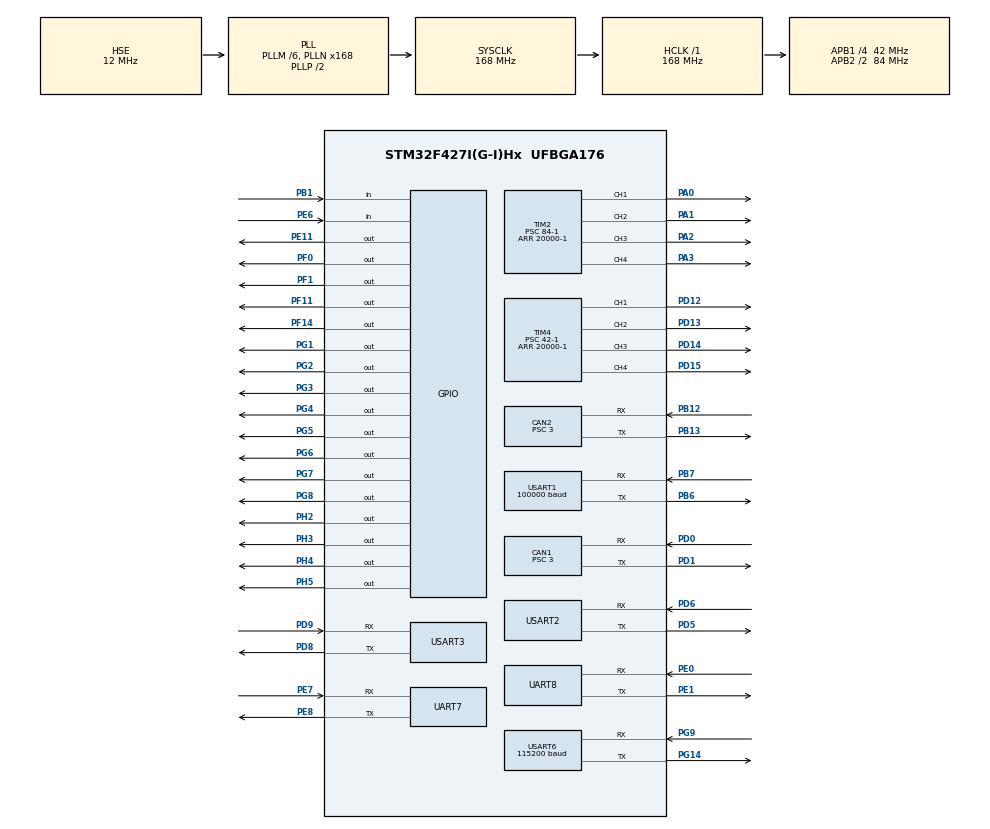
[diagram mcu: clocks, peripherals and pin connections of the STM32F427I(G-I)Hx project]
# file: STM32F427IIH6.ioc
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CAN1.BS1=CAN_BS1_10TQ
CAN1.BS2=CAN_BS2_3TQ
CAN1.CalculateBaudRate=1000000
CAN1.CalculateTimeBit=1000
CAN1.CalculateTimeQuantum=71.42857142857143
CAN1.Prescaler=3
CAN2.BS1=CAN_BS1_10TQ
CAN2.BS2=CAN_BS2_3TQ
CAN2.CalculateBaudRate=1000000
CAN2.CalculateTimeBit=1000
CAN2.CalculateTimeQuantum=71.42857142857143
CAN2.Prescaler=3
Dma.Request0=USART1_RX
Dma.Request1=USART6_RX
Dma.Request2=USART6_TX
Dma.Request3=UART7_RX
Dma.Request4=UART7_TX
Dma.Request5=UART8_RX
Dma.Request6=UART8_TX
Dma.Request7=USART3_TX
Dma.Request8=USART2_RX
Dma.UART7_RX.3.Direction=DMA_PERIPH_TO_MEMORY
Dma.UART7_RX.3.FIFOMode=DMA_FIFOMODE_DISABLE
Dma.UART7_RX.3.Instance=DMA1_Stream3
Dma.UART7_RX.3.MemDataAlignment=DMA_MDATAALIGN_BYTE
Dma.UART7_RX.3.MemInc=DMA_MINC_ENABLE
Dma.UART7_RX.3.Mode=DMA_NORMAL
Dma.UART7_RX.3.PeriphDataAlignment=DMA_PDATAALIGN_BYTE
Dma.UART7_RX.3.PeriphInc=DMA_PINC_DISABLE
Dma.UART7_RX.3.Priority=DMA_PRIORITY_HIGH
Dma.UART7_TX.4.Direction=DMA_MEMORY_TO_PERIPH
Dma.UART7_TX.4.FIFOMode=DMA_FIFOMODE_DISABLE
Dma.UART7_TX.4.Instance=DMA1_Stream1
Dma.UART7_TX.4.MemDataAlignment=DMA_MDATAALIGN_BYTE
Dma.UART7_TX.4.MemInc=DMA_MINC_ENABLE
Dma.UART7_TX.4.Mode=DMA_NORMAL
Dma.UART7_TX.4.PeriphDataAlignment=DMA_PDATAALIGN_BYTE
Dma.UART7_TX.4.PeriphInc=DMA_PINC_DISABLE
Dma.UART7_TX.4.Priority=DMA_PRIORITY_HIGH
Dma.UART8_RX.5.Direction=DMA_PERIPH_TO_MEMORY
Dma.UART8_RX.5.FIFOMode=DMA_FIFOMODE_DISABLE
Dma.UART8_RX.5.Instance=DMA1_Stream6
Dma.UART8_RX.5.MemDataAlignment=DMA_MDATAALIGN_BYTE
Dma.UART8_RX.5.MemInc=DMA_MINC_ENABLE
Dma.UART8_RX.5.Mode=DMA_NORMAL
Dma.UART8_RX.5.PeriphDataAlignment=DMA_PDATAALIGN_BYTE
Dma.UART8_RX.5.PeriphInc=DMA_PINC_DISABLE
Dma.UART8_RX.5.Priority=DMA_PRIORITY_HIGH
Dma.UART8_TX.6.Direction=DMA_MEMORY_TO_PERIPH
Dma.UART8_TX.6.FIFOMode=DMA_FIFOMODE_DISABLE
Dma.UART8_TX.6.Instance=DMA1_Stream0
Dma.UART8_TX.6.MemDataAlignment=DMA_MDATAALIGN_BYTE
Dma.UART8_TX.6.MemInc=DMA_MINC_ENABLE
Dma.UART8_TX.6.Mode=DMA_NORMAL
Dma.UART8_TX.6.PeriphDataAlignment=DMA_PDATAALIGN_BYTE
Dma.UART8_TX.6.PeriphInc=DMA_PINC_DISABLE
Dma.UART8_TX.6.Priority=DMA_PRIORITY_HIGH
Dma.USART1_RX.0.Direction=DMA_PERIPH_TO_MEMORY
Dma.USART1_RX.0.FIFOMode=DMA_FIFOMODE_DISABLE
Dma.USART1_RX.0.Instance=DMA2_Stream5
Dma.USART1_RX.0.MemDataAlignment=DMA_MDATAALIGN_BYTE
Dma.USART1_RX.0.MemInc=DMA_MINC_ENABLE
Dma.USART1_RX.0.Mode=DMA_CIRCULAR
Dma.USART1_RX.0.PeriphDataAlignment=DMA_PDATAALIGN_BYTE
Dma.USART1_RX.0.PeriphInc=DMA_PINC_DISABLE
Dma.USART1_RX.0.Priority=DMA_PRIORITY_VERY_HIGH
Dma.USART2_RX.8.Direction=DMA_PERIPH_TO_MEMORY
Dma.USART2_RX.8.FIFOMode=DMA_FIFOMODE_DISABLE
Dma.USART2_RX.8.Instance=DMA1_Stream5
Dma.USART2_RX.8.MemDataAlignment=DMA_MDATAALIGN_BYTE
Dma.USART2_RX.8.MemInc=DMA_MINC_ENABLE
Dma.USART2_RX.8.Mode=DMA_NORMAL
Dma.USART2_RX.8.PeriphDataAlignment=DMA_PDATAALIGN_BYTE
Dma.USART2_RX.8.PeriphInc=DMA_PINC_DISABLE
Dma.USART2_RX.8.Priority=DMA_PRIORITY_LOW
Dma.USART3_TX.7.Direction=DMA_MEMORY_TO_PERIPH
Dma.USART3_TX.7.FIFOMode=DMA_FIFOMODE_DISABLE
Dma.USART3_TX.7.Instance=DMA1_Stream4
Dma.USART3_TX.7.MemDataAlignment=DMA_MDATAALIGN_BYTE
Dma.USART3_TX.7.MemInc=DMA_MINC_ENABLE
Dma.USART3_TX.7.Mode=DMA_NORMAL
Dma.USART3_TX.7.PeriphDataAlignment=DMA_PDATAALIGN_BYTE
Dma.USART3_TX.7.PeriphInc=DMA_PINC_DISABLE
Dma.USART3_TX.7.Priority=DMA_PRIORITY_HIGH
Dma.USART6_RX.1.Direction=DMA_PERIPH_TO_MEMORY
Dma.USART6_RX.1.FIFOMode=DMA_FIFOMODE_DISABLE
Dma.USART6_RX.1.Instance=DMA2_Stream1
Dma.USART6_RX.1.MemDataAlignment=DMA_MDATAALIGN_BYTE
Dma.USART6_RX.1.MemInc=DMA_MINC_ENABLE
Dma.USART6_RX.1.Mode=DMA_NORMAL
Dma.USART6_RX.1.PeriphDataAlignment=DMA_PDATAALIGN_BYTE
Dma.USART6_RX.1.PeriphInc=DMA_PINC_DISABLE
Dma.USART6_RX.1.Priority=DMA_PRIORITY_HIGH
Dma.USART6_TX.2.Direction=DMA_MEMORY_TO_PERIPH
Dma.USART6_TX.2.FIFOMode=DMA_FIFOMODE_DISABLE
Dma.USART6_TX.2.Instance=DMA2_Stream6
Dma.USART6_TX.2.MemDataAlignment=DMA_MDATAALIGN_BYTE
Dma.USART6_TX.2.MemInc=DMA_MINC_ENABLE
Dma.USART6_TX.2.Mode=DMA_NORMAL
Dma.USART6_TX.2.PeriphDataAlignment=DMA_PDATAALIGN_BYTE
Dma.USART6_TX.2.PeriphInc=DMA_PINC_DISABLE
Dma.USART6_TX.2.Priority=DMA_PRIORITY_HIGH
FREERTOS.Tasks01=defaultTask,0,128,StartDefaultTask,Default,NULL,Dynamic,NULL,NULL;CHASSIS,0,512,chassis_task,As external,NULL,Dynamic,NULL,NULL;UPPER,0,256,upper_task,As external,NULL,Dynamic,NULL,NULL;MESSAGE,0,128,message_task,As external,NULL,Dynamic,NULL,NULL
Mcu.Family=STM32F4
Mcu.Name=STM32F427I(G-I)Hx
Mcu.Package=UFBGA176
NVIC.CAN1_RX0_IRQn=true\:5\:0\:false\:false\:true\:true\:true\:true\:true
NVIC.CAN2_RX0_IRQn=true\:5\:0\:false\:false\:true\:true\:true\:true\:true
NVIC.DMA1_Stream0_IRQn=true\:5\:0\:false\:false\:true\:true\:false\:true\:true
NVIC.DMA1_Stream1_IRQn=true\:5\:0\:false\:false\:true\:true\:false\:true\:true
NVIC.DMA1_Stream3_IRQn=true\:5\:0\:false\:false\:true\:true\:false\:true\:true
NVIC.DMA1_Stream4_IRQn=true\:5\:0\:false\:false\:true\:true\:false\:true\:true
NVIC.DMA1_Stream5_IRQn=true\:5\:0\:false\:false\:true\:true\:false\:true\:true
NVIC.DMA1_Stream6_IRQn=true\:5\:0\:false\:false\:true\:true\:false\:true\:true
NVIC.DMA2_Stream1_IRQn=true\:5\:0\:false\:false\:true\:true\:false\:true\:true
NVIC.DMA2_Stream5_IRQn=true\:5\:0\:false\:false\:true\:true\:false\:true\:true
NVIC.DMA2_Stream6_IRQn=true\:5\:0\:false\:false\:true\:true\:false\:true\:true
NVIC.PriorityGroup=NVIC_PRIORITYGROUP_4
NVIC.TIM6_DAC_IRQn=true\:5\:0\:false\:false\:true\:true\:true\:true\:true
NVIC.TIM7_IRQn=true\:5\:0\:false\:false\:true\:true\:true\:true\:true
NVIC.UART7_IRQn=true\:5\:0\:false\:false\:true\:true\:true\:true\:true
NVIC.UART8_IRQn=true\:5\:0\:false\:false\:true\:true\:true\:true\:true
NVIC.USART2_IRQn=true\:5\:0\:false\:false\:true\:true\:true\:true\:true
NVIC.USART3_IRQn=true\:5\:0\:false\:false\:true\:true\:true\:true\:true
NVIC.USART6_IRQn=true\:5\:0\:false\:false\:true\:true\:true\:true\:true
PA0/WKUP.Signal=S_TIM2_CH1_ETR
PA1.Signal=S_TIM2_CH2
PA13.Mode=Serial_Wire
PA13.Signal=SYS_JTMS-SWDIO
PA14.Mode=Serial_Wire
PA14.Signal=SYS_JTCK-SWCLK
PA2.Signal=S_TIM2_CH3
PA3.Signal=S_TIM2_CH4
PB1.Signal=GPIO_Input
PB12.Mode=CAN_Activate
PB12.Signal=CAN2_RX
PB13.Mode=CAN_Activate
PB13.Signal=CAN2_TX
PB6.Mode=Asynchronous
PB6.Signal=USART1_TX
PB7.Mode=Asynchronous
PB7.Signal=USART1_RX
PD0.Mode=CAN_Activate
PD0.Signal=CAN1_RX
PD1.Mode=CAN_Activate
PD1.Signal=CAN1_TX
PD12.Signal=S_TIM4_CH1
PD13.Signal=S_TIM4_CH2
PD14.Signal=S_TIM4_CH3
PD15.Signal=S_TIM4_CH4
PD5.Mode=Asynchronous
PD5.Signal=USART2_TX
PD6.Mode=Asynchronous
PD6.Signal=USART2_RX
PD8.Mode=Asynchronous
PD8.Signal=USART3_TX
PD9.Mode=Asynchronous
PD9.Signal=USART3_RX
PE0.Mode=Asynchronous
PE0.Signal=UART8_RX
PE1.Mode=Asynchronous
PE1.Signal=UART8_TX
PE11.Signal=GPIO_Output
PE6.Signal=GPIO_Input
PE7.Mode=Asynchronous
PE7.Signal=UART7_RX
PE8.Mode=Asynchronous
PE8.Signal=UART7_TX
PF0.Signal=GPIO_Output
PF1.Signal=GPIO_Output
PF11.Signal=GPIO_Output
PF14.Signal=GPIO_Output
PG1.Signal=GPIO_Output
PG14.Mode=Asynchronous
PG14.Signal=USART6_TX
PG2.Signal=GPIO_Output
PG3.Signal=GPIO_Output
PG4.Signal=GPIO_Output
PG5.Signal=GPIO_Output
PG6.Signal=GPIO_Output
PG7.Signal=GPIO_Output
PG8.Signal=GPIO_Output
PG9.Mode=Asynchronous
PG9.Signal=USART6_RX
PH0/OSC_IN.Mode=HSE-External-Oscillator
PH0/OSC_IN.Signal=RCC_OSC_IN
PH1/OSC_OUT.Mode=HSE-External-Oscillator
PH1/OSC_OUT.Signal=RCC_OSC_OUT
PH2.Signal=GPIO_Output
PH3.Signal=GPIO_Output
PH4.Signal=GPIO_Output
PH5.Signal=GPIO_Output
ProjectManager.HeapSize=0x200
ProjectManager.StackSize=0x400
ProjectManager.TargetToolchain=MDK-ARM V5
RCC.48MHZClocksFreq_Value=84000000
RCC.AHBFreq_Value=168000000
RCC.APB1CLKDivider=RCC_HCLK_DIV4
RCC.APB1Freq_Value=42000000
RCC.APB1TimFreq_Value=84000000
RCC.APB2CLKDivider=RCC_HCLK_DIV2
RCC.APB2Freq_Value=84000000
RCC.APB2TimFreq_Value=168000000
RCC.CortexFreq_Value=168000000
RCC.HCLKFreq_Value=168000000
RCC.HSE_VALUE=12000000
RCC.HSI_VALUE=16000000
RCC.LSE_VALUE=32768
RCC.PLLM=6
RCC.PLLN=168
RCC.PLLSourceVirtual=RCC_PLLSOURCE_HSE
RCC.SYSCLKFreq_VALUE=168000000
RCC.SYSCLKSource=RCC_SYSCLKSOURCE_PLLCLK
RCC.VCOOutputFreq_Value=336000000
SH.S_TIM2_CH1_ETR.0=TIM2_CH1,PWM Generation1 CH1
SH.S_TIM2_CH2.0=TIM2_CH2,PWM Generation2 CH2
SH.S_TIM2_CH3.0=TIM2_CH3,PWM Generation3 CH3
SH.S_TIM2_CH4.0=TIM2_CH4,PWM Generation4 CH4
SH.S_TIM4_CH1.0=TIM4_CH1,PWM Generation1 CH1
SH.S_TIM4_CH2.0=TIM4_CH2,PWM Generation2 CH2
SH.S_TIM4_CH3.0=TIM4_CH3,PWM Generation3 CH3
SH.S_TIM4_CH4.0=TIM4_CH4,PWM Generation4 CH4
TIM2.AutoReloadPreload=TIM_AUTORELOAD_PRELOAD_ENABLE
TIM2.Channel-PWM\ Generation1\ CH1=TIM_CHANNEL_1
TIM2.Channel-PWM\ Generation2\ CH2=TIM_CHANNEL_2
TIM2.Channel-PWM\ Generation3\ CH3=TIM_CHANNEL_3
TIM2.Channel-PWM\ Generation4\ CH4=TIM_CHANNEL_4
TIM2.Period=20000-1
TIM2.Prescaler=84-1
TIM4.AutoReloadPreload=TIM_AUTORELOAD_PRELOAD_ENABLE
TIM4.Channel-PWM\ Generation1\ CH1=TIM_CHANNEL_1
TIM4.Channel-PWM\ Generation2\ CH2=TIM_CHANNEL_2
TIM4.Channel-PWM\ Generation3\ CH3=TIM_CHANNEL_3
TIM4.Channel-PWM\ Generation4\ CH4=TIM_CHANNEL_4
TIM4.Period=20000-1
TIM4.Prescaler=42-1
TIM6.AutoReloadPreload=TIM_AUTORELOAD_PRELOAD_ENABLE
TIM6.Period=20-1
TIM6.Prescaler=8400-1
TIM7.AutoReloadPreload=TIM_AUTORELOAD_PRELOAD_ENABLE
TIM7.Period=1000-1
TIM7.Prescaler=8400-1
UART7.VirtualMode=Asynchronous
UART8.VirtualMode=Asynchronous
USART1.BaudRate=100000
USART1.Parity=PARITY_EVEN
USART1.VirtualMode=VM_ASYNC
USART1.WordLength=WORDLENGTH_9B
USART2.VirtualMode=VM_ASYNC
USART3.VirtualMode=VM_ASYNC
USART6.BaudRate=115200
USART6.VirtualMode=VM_ASYNC
VP_FREERTOS_VS_CMSIS_V1.Mode=CMSIS_V1
VP_TIM2_VS_ClockSourceINT.Mode=Internal
VP_TIM4_VS_ClockSourceINT.Mode=Internal
VP_TIM6_VS_ClockSourceINT.Mode=Enable_Timer
VP_TIM7_VS_ClockSourceINT.Mode=Enable_Timer
board=custom

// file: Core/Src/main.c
/* USER CODE BEGIN Header */
/**
  ******************************************************************************
  * @file           : main.c
  * @brief          : Main program body
  ******************************************************************************
  * @attention
  *
  * Copyright (c) 2023 STMicroelectronics.
  * All rights reserved.
  *
  * This software is licensed under terms that can be found in the LICENSE file
  * in the root directory of this software component.
  * If no LICENSE file comes with this software, it is provided AS-IS.
  *
  ******************************************************************************
  */
/* USER CODE END Header */
#include "main.h"
#include "cmsis_os.h"
#include "can.h"
#include "dma.h"
#include "tim.h"
#include "usart.h"
#include "gpio.h"

/* USER CODE BEGIN Includes */
#include <stdio.h>
#include <stdlib.h>
#include <stdarg.h>
#include <string.h>

#include "gld_can.h"
#include "struct_typedef.h"
#include "gld_can.h"
#include "pid.h"
#include "chassis_task.h"

/*USART2********************************************************/
int data_10_usatr2 = 0;
uint8_t len_usatr2;
uint8_t rx_buffer_usatr2[30];               //接收数据的数组
volatile uint8_t rx_len_usatr2 = 0;          //接收数据的长度
volatile uint8_t recv_end_flag_usatr2 = 0;   //接收结束标志位
unsigned char date_l1_usatr2[5] ={0};

/*USART3********************************************************/
//int data_10_usatr3 = 0;
//uint8_t rx_buffer_usatr3[100];               //接收数据的数组
//volatile uint8_t rx_len_usatr3 = 0;          //接收数据的长度
//volatile uint8_t recv_end_flag_usatr3 = 0;   //接收结束标志位

//void usart_printf_usart3(const char *fmt,...)
//{
//	static uint8_t tx_buf_usart3[256] = {0};
//	static va_list ap;
//	static uint16_t len_usart3;
//	va_start(ap, fmt);
//	len_usart3 = vsprintf((char *)tx_buf_usart3, fmt, ap);
//	va_end(ap);
//	HAL_UART_Transmit_DMA(&huart3,tx_buf_usart3, len_usart3);
//}

/*USART6********************************************************/
int data_10_usatr6 = 0;
uint8_t singal = 0;
uint8_t len_usatr6;
uint8_t rx_buffer_usatr6[30];               //接收数据的数组
volatile uint8_t rx_len_usatr6 = 0;          //接收数据的长度
volatile uint8_t recv_end_flag_usatr6 = 0;   //接收结束标志位
unsigned char date_l1_usatr6[5] ={0};
int yaw_angle =0;

void usart_printf_usart6(const char *fmt,...)
{
	static uint8_t tx_buf[256] = {0};
	static va_list ap;
	static uint16_t len;
	va_start(ap, fmt);
	len = vsprintf((char *)tx_buf, fmt, ap);
	va_end(ap);
	HAL_UART_Transmit_DMA(&huart6,tx_buf, len);

}

/*USART7********************************************************/
int data_10_usatr7 = 0;
uint8_t len_usatr7;
uint8_t rx_buffer_usatr7[30];               //接收数据的数组
volatile uint8_t rx_len_usatr7 = 0;          //接收数据的长度
volatile uint8_t recv_end_flag_usatr7 = 0;   //接收结束标志位
unsigned char date_l1_usatr7[5] ={0};

/*USART8********************************************************/
int data_10_usatr8 = 0;
uint8_t len_usatr8;
uint8_t rx_buffer_usatr8[30];               //接收数据的数组
volatile uint8_t rx_len_usatr8 = 0;          //接收数据的长度
volatile uint8_t recv_end_flag_usatr8 = 0;   //接收结束标志位
unsigned char date_l1_usatr8[5] ={0};

/* USER CODE END Includes */

/* USER CODE BEGIN PV */
RC_Ctl_t RC_Ctl;   					//声明遥控器数据结构体
uint8_t sbus_rx_buffer[18]; 		//声明遥控器缓存数组
/* USER CODE END PV */

void SystemClock_Config(void);
void MX_FREERTOS_Init(void);

int main(void)
{

  /* MCU Configuration--------------------------------------------------------*/

  /* Reset of all peripherals, Initializes the Flash interface and the Systick. */
  HAL_Init();

  /* Configure the system clock */
  SystemClock_Config();

  /* Initialize all configured peripherals */
  MX_GPIO_Init();
  MX_DMA_Init();
  MX_USART1_UART_Init();
  MX_CAN1_Init();
  MX_CAN2_Init();
  MX_TIM2_Init();
  MX_TIM4_Init();
  MX_USART6_UART_Init();
  MX_TIM6_Init();
  MX_TIM7_Init();
  MX_UART7_Init();
  MX_UART8_Init();
  MX_USART3_UART_Init();
  MX_USART2_UART_Init();
  /* USER CODE BEGIN 2 */
  can_filter_init();
  HAL_UART_Receive_DMA(&huart1,sbus_rx_buffer,18);
  __HAL_UART_ENABLE_IT(&huart1, UART_IT_IDLE);

  /*USART2********************************************************/
  __HAL_UART_ENABLE_IT(&huart2, UART_IT_IDLE);  //开启空闲中断
  HAL_UART_Receive_DMA(&huart2,rx_buffer_usatr2,30);  //开启DMA接收中断

  /*USART6********************************************************/
  HAL_UART_Receive_DMA(&huart6,rx_buffer_usatr6,30);  //开启DMA接收中断
  __HAL_UART_ENABLE_IT(&huart6, UART_IT_IDLE);

  /*USART7********************************************************/
  __HAL_UART_ENABLE_IT(&huart7, UART_IT_IDLE);  //开启空闲中断
  HAL_UART_Receive_DMA(&huart7,rx_buffer_usatr7,30);  //开启DMA接收中断

  /*USART8********************************************************/
  __HAL_UART_ENABLE_IT(&huart8, UART_IT_IDLE);  //开启空闲中断
  HAL_UART_Receive_DMA(&huart8,rx_buffer_usatr8,30);  //开启DMA接收中断

  HAL_GPIO_WritePin(GPIOH, GPIO_PIN_2, GPIO_PIN_SET);
  HAL_GPIO_WritePin(GPIOH, GPIO_PIN_3, GPIO_PIN_SET);
  HAL_GPIO_WritePin(GPIOH, GPIO_PIN_4, GPIO_PIN_SET);
  HAL_GPIO_WritePin(GPIOH, GPIO_PIN_5, GPIO_PIN_SET);

  HAL_TIM_Base_Start_IT(&htim6);
  HAL_TIM_Base_Start_IT(&htim7);
  /*定时器2*/
  HAL_TIM_PWM_Start(&htim2,TIM_CHANNEL_1);//串口		S
  HAL_TIM_PWM_Start(&htim2,TIM_CHANNEL_2);//串口		T
  HAL_TIM_PWM_Start(&htim2,TIM_CHANNEL_3);//串口		V
  HAL_TIM_PWM_Start(&htim2,TIM_CHANNEL_4);//串口		Y

  /*定时器4*/
  HAL_TIM_PWM_Start(&htim4,TIM_CHANNEL_1);//串口		H
  HAL_TIM_PWM_Start(&htim4,TIM_CHANNEL_2);//串口		G
  HAL_TIM_PWM_Start(&htim4,TIM_CHANNEL_3);//串口		F
  HAL_TIM_PWM_Start(&htim4,TIM_CHANNEL_4);//串口		E

  HAL_UART_Transmit_IT(&huart2, "iFACM",5);
	HAL_UART_Transmit_DMA(&huart6, "iFACM",5);
	HAL_UART_Transmit_DMA(&huart7, "iFACM",5);
	HAL_UART_Transmit_DMA(&huart8, "iFACM",5);
  HAL_Delay(200);

  /* USER CODE END 2 */

  /* Call init function for freertos objects (in freertos.c) */
  MX_FREERTOS_Init();

  /* Start scheduler */
  osKernelStart();

  /* We should never get here as control is now taken by the scheduler */
  /* Infinite loop */
  while (1)
  {

  }
}

void SystemClock_Config(void)
{
  RCC_OscInitTypeDef RCC_OscInitStruct = {0};
  RCC_ClkInitTypeDef RCC_ClkInitStruct = {0};

  /** Configure the main internal regulator output voltage
  */
  __HAL_RCC_PWR_CLK_ENABLE();
  __HAL_PWR_VOLTAGESCALING_CONFIG(PWR_REGULATOR_VOLTAGE_SCALE1);

  /** Initializes the RCC Oscillators according to the specified parameters
  * in the RCC_OscInitTypeDef structure.
  */
  RCC_OscInitStruct.OscillatorType = RCC_OSCILLATORTYPE_HSE;
  RCC_OscInitStruct.HSEState = RCC_HSE_ON;
  RCC_OscInitStruct.PLL.PLLState = RCC_PLL_ON;
  RCC_OscInitStruct.PLL.PLLSource = RCC_PLLSOURCE_HSE;
  RCC_OscInitStruct.PLL.PLLM = 6;
  RCC_OscInitStruct.PLL.PLLN = 168;
  RCC_OscInitStruct.PLL.PLLP = RCC_PLLP_DIV2;
  RCC_OscInitStruct.PLL.PLLQ = 4;
  if (HAL_RCC_OscConfig(&RCC_OscInitStruct) != HAL_OK)
  {
    Error_Handler();
  }

  /** Initializes the CPU, AHB and APB buses clocks
  */
  RCC_ClkInitStruct.ClockType = RCC_CLOCKTYPE_HCLK|RCC_CLOCKTYPE_SYSCLK
                              |RCC_CLOCKTYPE_PCLK1|RCC_CLOCKTYPE_PCLK2;
  RCC_ClkInitStruct.SYSCLKSource = RCC_SYSCLKSOURCE_PLLCLK;
  RCC_ClkInitStruct.AHBCLKDivider = RCC_SYSCLK_DIV1;
  RCC_ClkInitStruct.APB1CLKDivider = RCC_HCLK_DIV4;
  RCC_ClkInitStruct.APB2CLKDivider = RCC_HCLK_DIV2;

  if (HAL_RCC_ClockConfig(&RCC_ClkInitStruct, FLASH_LATENCY_5) != HAL_OK)
  {
    Error_Handler();
  }
}

/* USER CODE BEGIN 4 */
//void HAL_UART_RxCpltCallback(UART_HandleTypeDef *UartHandle)
//{
//  RC_Ctl.rc.ch0 = (sbus_rx_buffer[0]| (sbus_rx_buffer[1] << 8)) & 0x07ff;
//	RC_Ctl.rc.ch1 = ((sbus_rx_buffer[1] >> 3) | (sbus_rx_buffer[2] << 5)) & 0x07ff;
//	RC_Ctl.rc.ch2 = ((sbus_rx_buffer[2] >> 6) | (sbus_rx_buffer[3] << 2) | (sbus_rx_buffer[4] << 10)) & 0x07ff;
//	RC_Ctl.rc.ch3 = ((sbus_rx_buffer[4] >> 1) | (sbus_rx_buffer[5] << 7)) & 0x07ff;
//	RC_Ctl.rc.s1  = ((sbus_rx_buffer[5] >> 4)& 0x000C) >> 2;
//	RC_Ctl.rc.s2  = ((sbus_rx_buffer[5] >> 4)& 0x0003);
//  RC_Ctl.rc.sw=sbus_rx_buffer[16]|(sbus_rx_buffer[17]<<8);
//
//	RC_Ctl.mouse.x = sbus_rx_buffer[6] | (sbus_rx_buffer[7] << 8);                    //!< Mouse X axis
//	RC_Ctl.mouse.y = sbus_rx_buffer[8] | (sbus_rx_buffer[9] << 8);                    //!< Mouse Y axis
//	RC_Ctl.mouse.z = sbus_rx_buffer[10] | (sbus_rx_buffer[11] << 8);                  //!< Mouse Z axis
//	RC_Ctl.mouse.press_l = sbus_rx_buffer[12];                                        //!< Mouse Left Is Press
//	RC_Ctl.mouse.press_r = sbus_rx_buffer[13];                                        //!< Mouse Right Is Press
//	RC_Ctl.key.v = sbus_rx_buffer[14] | (sbus_rx_buffer[15] << 8);   			            //!< KeyBoard value
//
//}
/* USER CODE END 4 */

void Error_Handler(void)
{
  __disable_irq();
  while (1)
  {
  }
}

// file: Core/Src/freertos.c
/* USER CODE BEGIN Header */
/**
  ******************************************************************************
  * File Name          : freertos.c
  * Description        : Code for freertos applications
  ******************************************************************************
  * @attention
  *
  * Copyright (c) 2023 STMicroelectronics.
  * All rights reserved.
  *
  * This software is licensed under terms that can be found in the LICENSE file
  * in the root directory of this software component.
  * If no LICENSE file comes with this software, it is provided AS-IS.
  *
  ******************************************************************************
  */
/* USER CODE END Header */

#include "FreeRTOS.h"
#include "task.h"
#include "main.h"
#include "cmsis_os.h"

/* USER CODE BEGIN Includes */
#include "chassis_task.h"
#include "upper_task.h"
/* USER CODE END Includes */

osThreadId defaultTaskHandle;
osThreadId CHASSISHandle;
osThreadId UPPERHandle;
osThreadId MESSAGEHandle;

void StartDefaultTask(void const * argument);
extern void chassis_task(void const * argument);
extern void upper_task(void const * argument);
extern void message_task(void const * argument);

void MX_FREERTOS_Init(void); /* (MISRA C 2004 rule 8.1) */

/* GetIdleTaskMemory prototype (linked to static allocation support) */
void vApplicationGetIdleTaskMemory( StaticTask_t **ppxIdleTaskTCBBuffer, StackType_t **ppxIdleTaskStackBuffer, uint32_t *pulIdleTaskStackSize );

/* USER CODE BEGIN GET_IDLE_TASK_MEMORY */
static StaticTask_t xIdleTaskTCBBuffer;
static StackType_t xIdleStack[configMINIMAL_STACK_SIZE];

void vApplicationGetIdleTaskMemory( StaticTask_t **ppxIdleTaskTCBBuffer, StackType_t **ppxIdleTaskStackBuffer, uint32_t *pulIdleTaskStackSize )
{
  *ppxIdleTaskTCBBuffer = &xIdleTaskTCBBuffer;
  *ppxIdleTaskStackBuffer = &xIdleStack[0];
  *pulIdleTaskStackSize = configMINIMAL_STACK_SIZE;
  /* place for user code */
}
/* USER CODE END GET_IDLE_TASK_MEMORY */

void MX_FREERTOS_Init(void) {

  /* Create the thread(s) */
  /* definition and creation of defaultTask */
  osThreadDef(defaultTask, StartDefaultTask, osPriorityNormal, 0, 128);
  defaultTaskHandle = osThreadCreate(osThread(defaultTask), NULL);

  /* definition and creation of CHASSIS */
  osThreadDef(CHASSIS, chassis_task, osPriorityNormal, 0, 512);
  CHASSISHandle = osThreadCreate(osThread(CHASSIS), NULL);

  /* definition and creation of UPPER */
  osThreadDef(UPPER, upper_task, osPriorityNormal, 0, 256);
  UPPERHandle = osThreadCreate(osThread(UPPER), NULL);

  /* definition and creation of MESSAGE */
  osThreadDef(MESSAGE, message_task, osPriorityNormal, 0, 128);
  MESSAGEHandle = osThreadCreate(osThread(MESSAGE), NULL);

}

void StartDefaultTask(void const * argument)
{
  for(;;)
  {
    osDelay(1);
  }
}
